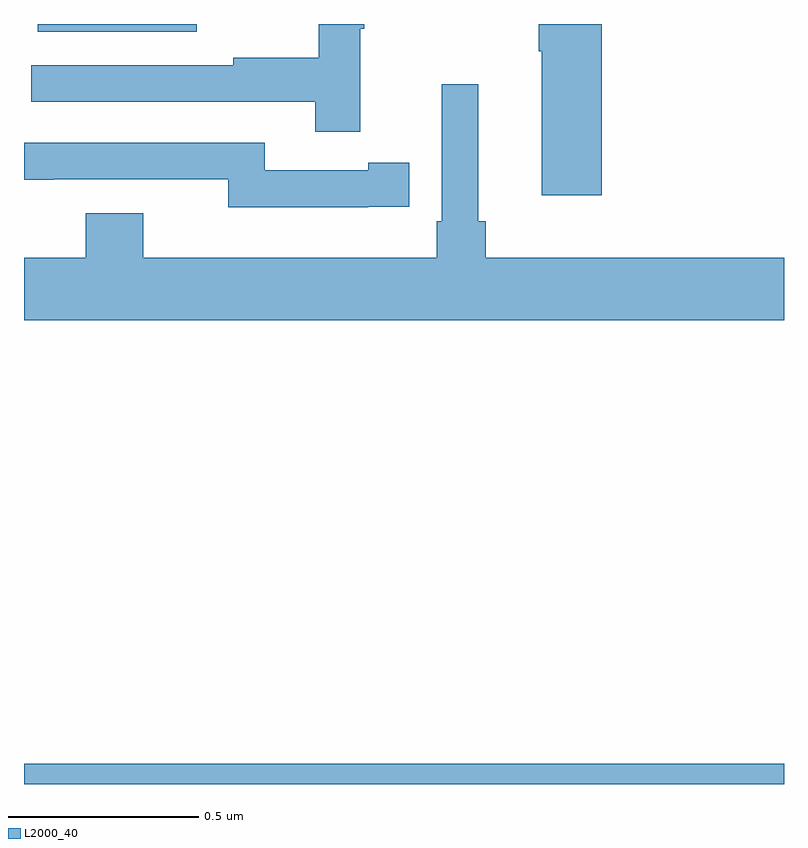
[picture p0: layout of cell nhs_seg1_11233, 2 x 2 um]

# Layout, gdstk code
import gdstk
lib = gdstk.Library(unit=1e-6, precision=1e-09)
def R(c, l, rs):  # rectangles x0, y0, x1, y1
    for r in rs: c.add(gdstk.rectangle(r[:2], r[2:], *l))
def P(c, l, *ps):  # polygons
    for p in ps: c.add(gdstk.Polygon(p, *l))
L2000_40 = (2000, 40)

nhs_seg1_11233 = lib.new_cell('nhs_seg1_11233')
R(nhs_seg1_11233, L2000_40, [(251,529.199,253,529.252), (251.036,531.179,251.455,531.199)])
P(nhs_seg1_11233, L2000_40, [(252.521,531.199),(252.355,531.199),(252.355,531.127),(252.362,531.127),(252.362,530.748),(252.521,530.748)],
  [(251.885,531.187),(251.896,531.187),(251.896,531.199),(251.775,531.199),(251.775,531.11),(251.551,531.11),(251.551,531.09),(251.019,531.09),(251.019,530.994),(251.767,530.994),(251.767,530.916),(251.885,530.916)],
  [(251.162,530.701),(251.162,530.584),(251,530.584),(251,530.42),(253,530.42),(253,530.584),(252.215,530.584),(252.215,530.68),(252.196,530.68),(252.196,531.04),(252.099,531.04),(252.099,530.68),(252.086,530.68),(252.086,530.584),(251.314,530.584),(251.314,530.701)],
  [(251.906,530.718),(252.014,530.718),(252.014,530.834),(251.906,530.834),(251.906,530.814),(251.634,530.814),(251.634,530.886),(251,530.886),(251,530.789),(251.078,530.789),(251.078,530.79),(251.538,530.79),(251.538,530.717),(251.906,530.717)])

lib.write_gds('nhs_seg1_11233.gds')
